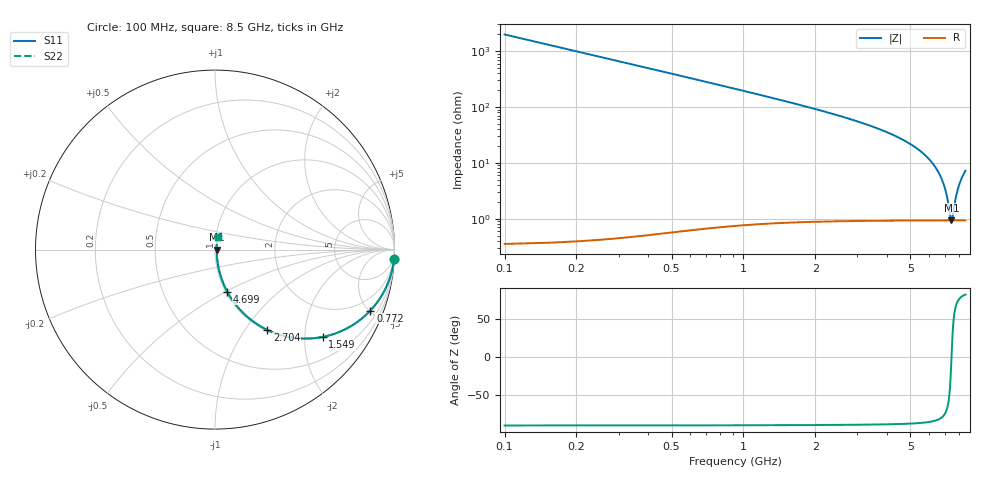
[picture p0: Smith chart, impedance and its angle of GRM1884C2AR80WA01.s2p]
!Murata Part Number: GRM1884C2AR80WA01
!These Parameters are Measured in Series Mode Connection
!Data Generated on Mar 30, 2021
!  o--ll--o
!Port1  Port2
!  o------o
!Operation Temp=25[degC], DC Bias Voltage=0[V]
!Freq. Start=100[MHz] Stop=9[GHz] 401[Steps]
# Hz S RI R 50
!Freq.(Hz) S11(Real) S11(Imag) S21(Real) S21(Imag) S12(Real) S12(Imag) S22(Real) S22(Imag)
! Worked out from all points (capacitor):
!   401 points, 100 MHz to 8.5 GHz, reference 50 ohm
!   read as one part in series: C = 800 fF near 142 MHz
!   lowest |Z| = 937 mohm at 7.429 GHz (marker M1)
!   series resonance near 7.435 GHz, so ESL is about 570 pH
!   S11 on the Smith chart (normalised r, x): 100 MHz: 1, -40; 772 MHz: 1.01, -5.09; 1.549 GHz: 1.02, -2.45; 2.704 GHz: 1.02, -1.27; 4.699 GHz: 1.02, -0.51; 8.5 GHz: 1.02, +0.14
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1e8  0.9975 -0.0501  0.00253 0.0501  0.00253 0.0501  0.9975 -0.0501
2.26e8  0.9872 -0.1123  0.0128 0.1123  0.0128 0.1123  0.9872 -0.1123
3.52e8  0.9693 -0.1719  0.0307 0.1719  0.0307 0.1719  0.9693 -0.1719
5.41e8  0.93 -0.2543  0.07 0.2543  0.07 0.2543  0.93 -0.2543
7.72e8  0.8657 -0.3396  0.1343 0.3396  0.1343 0.3396  0.8657 -0.3396
1.507e9  0.6142 -0.4834  0.3858 0.4834  0.3858 0.4834  0.6142 -0.4834
1.549e9  0.6 -0.4864  0.4 0.4864  0.4 0.4864  0.6 -0.4864
2.704e9  0.2915 -0.4474  0.7085 0.4474  0.7085 0.4474  0.2915 -0.4474
2.914e9  0.2531 -0.4269  0.7469 0.4269  0.7469 0.4269  0.2531 -0.4269
4.3e9  0.0933 -0.2761  0.9067 0.2761  0.9067 0.2761  0.0933 -0.2761
4.699e9  0.0681 -0.2343  0.9319 0.2343  0.9319 0.2343  0.0681 -0.2343
5.707e9  0.0287 -0.1375  0.9713 0.1375  0.9713 0.1375  0.0287 -0.1375
6.589e9  0.0133 -0.0632  0.9867 0.0632  0.9867 0.0632  0.0133 -0.0632
6.883e9  0.0109 -0.0404  0.9891 0.0404  0.9891 0.0404  0.0109 -0.0404
7.114e9  0.00981 -0.0231  0.9902 0.0231  0.9902 0.0231  0.00981 -0.0231
7.366e9  0.0093 -0.00486  0.9907 0.00486  0.9907 0.00486  0.0093 -0.00486
7.429e9  0.00928 -0.000399  0.9907 0.000399  0.9907 0.000399  0.00928 -0.000399
7.492e9  0.00929 0.00403  0.9907 -0.00403  0.9907 -0.00403  0.00929 0.00403
7.723e9  0.00968 0.0199  0.9903 -0.0199  0.9903 -0.0199  0.00968 0.0199
7.912e9  0.0104 0.0326  0.9896 -0.0326  0.9896 -0.0326  0.0104 0.0326
8.185e9  0.0118 0.0504  0.9882 -0.0504  0.9882 -0.0504  0.0118 0.0504
8.5e9  0.0143 0.0701  0.9857 -0.0701  0.9857 -0.0701  0.0143 0.0701
